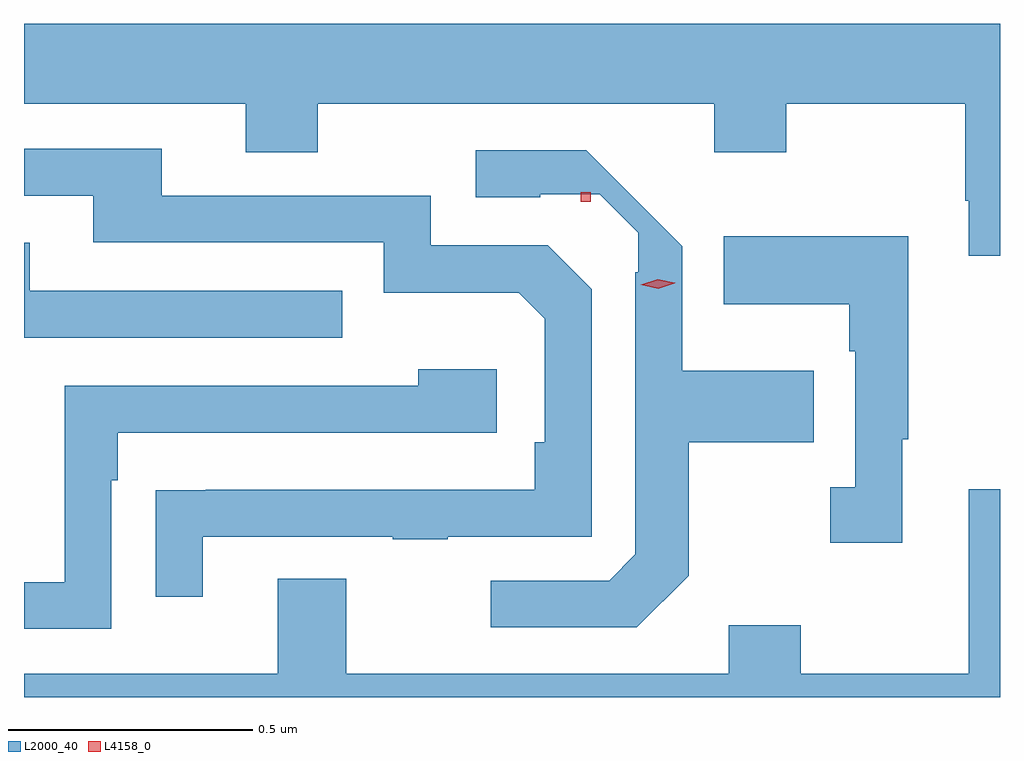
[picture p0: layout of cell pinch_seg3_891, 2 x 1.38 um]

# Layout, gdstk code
import gdstk
lib = gdstk.Library(unit=1e-6, precision=1e-09)
def R(c, l, rs):  # rectangles x0, y0, x1, y1
    for r in rs: c.add(gdstk.rectangle(r[:2], r[2:], *l))
def P(c, l, *ps):  # polygons
    for p in ps: c.add(gdstk.Polygon(p, *l))
L2000_40 = (2000, 40)
L4158_0 = (4158, 0)

pinch_seg3_891 = lib.new_cell('pinch_seg3_891')
P(pinch_seg3_891, L2000_40, [(732.105,667.78),(730.105,667.78),(730.105,667.616),(730.559,667.616),(730.559,667.517),(730.707,667.517),(730.707,667.616),(731.519,667.616),(731.519,667.517),(731.667,667.517),(731.667,667.616),(732.034,667.616),(732.034,667.417),(732.041,667.417),(732.041,667.305),(732.105,667.305)],
  [(730.471,666.729),(730.861,666.729),(730.861,666.724),(730.973,666.724),(730.973,666.729),(731.268,666.729),(731.268,667.236),(731.178,667.326),(730.938,667.326),(730.938,667.428),(730.387,667.428),(730.387,667.524),(730.105,667.524),(730.105,667.428),(730.247,667.428),(730.247,667.332),(730.842,667.332),(730.842,667.229),(731.119,667.229),(731.172,667.176),(731.172,666.922),(731.152,666.922),(731.152,666.825),(730.477,666.825),(730.477,666.824),(730.375,666.824),(730.375,666.606),(730.471,666.606)],
  [(731.467,666.649),(731.467,666.922),(731.723,666.922),(731.723,667.069),(731.454,667.069),(731.454,667.324),(731.257,667.521),(731.031,667.521),(731.031,667.425),(731.163,667.425),(731.163,667.431),(731.285,667.431),(731.364,667.352),(731.364,667.271),(731.358,667.271),(731.358,666.693),(731.304,666.639),(731.061,666.639),(731.061,666.543),(731.361,666.543)],
  [(731.905,666.929),(731.917,666.929),(731.917,667.345),(731.539,667.345),(731.539,667.205),(731.796,667.205),(731.796,667.109),(731.808,667.109),(731.808,666.83),(731.757,666.83),(731.757,666.717),(731.905,666.717)],
  [(730.757,667.233),(730.117,667.233),(730.117,667.331),(730.105,667.331),(730.105,667.137),(730.757,667.137)],
  [(730.284,666.845),(730.297,666.845),(730.297,666.942),(731.074,666.942),(731.074,667.072),(730.913,667.072),(730.913,667.038),(730.188,667.038),(730.188,666.636),(730.105,666.636),(730.105,666.54),(730.284,666.54)],
  [(732.105,666.826),(732.041,666.826),(732.041,666.448),(731.697,666.448),(731.697,666.547),(731.549,666.547),(731.549,666.448),(730.765,666.448),(730.765,666.643),(730.625,666.643),(730.625,666.448),(730.105,666.448),(730.105,666.4),(732.105,666.4)])
R(pinch_seg3_891, L4158_0, [(731.246,667.415,731.266,667.435)])
P(pinch_seg3_891, L4158_0, [(731.405,667.237),(731.369,667.245),(731.369,667.245),(731.369,667.245),(731.404,667.257),(731.439,667.249),(731.44,667.249),(731.439,667.248)])

lib.write_gds('pinch_seg3_891.gds')
